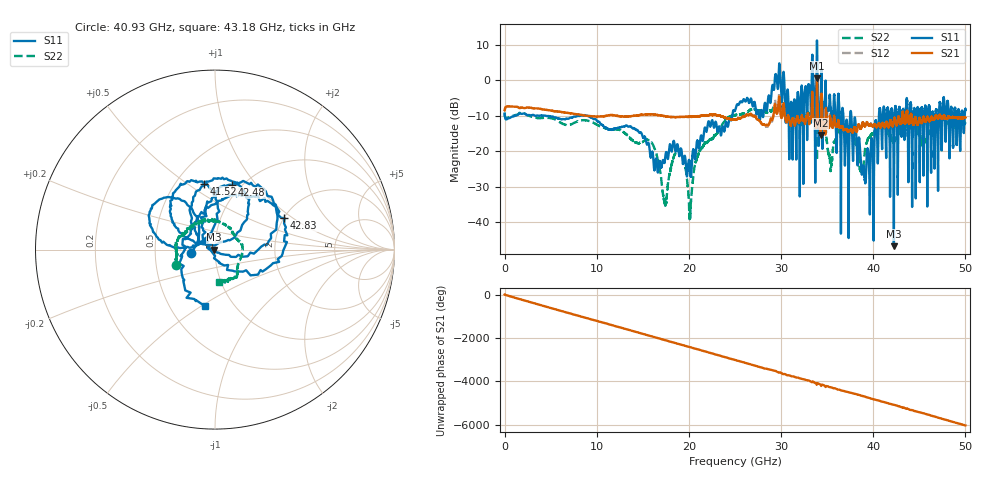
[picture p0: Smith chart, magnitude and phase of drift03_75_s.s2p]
!Created with skrf (http://scikit-rf.org).
# Hz S RI R 50.0
!freq ReS11 ImS11 ReS21 ImS21 ReS12 ImS12 ReS22 ImS22
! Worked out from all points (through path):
!   10001 points, 300 kHz to 50 GHz, reference 50 ohm
!   highest |S21| = 0.62 dB at 33.9 GHz (marker M1); lowest = -15.5 dB at 34.32 GHz (marker M2)
!   group delay of S21, straight-line fit = 335 ps
!   lowest |S11| = -46.8 dB at 42.24 GHz (marker M3), VSWR 1.01, Z = 49.6 - j0.0868 ohm
!   |S11| at or under -10 dB: 4.471 GHz to 8.188 GHz (3.717 GHz wide, 58.7 % of centre); 9.014 GHz to 24.7 GHz (15.68 GHz wide, 93 % of centre); 37.62 GHz to 40.62 GHz (2.997 GHz wide, 7.66 % of centre) (the widest 3 of 54)
!   |S22| runs from -39.2 to -5.9 dB; largest |S21 - S12| = 0.11
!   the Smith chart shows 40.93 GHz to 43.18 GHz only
!   S11 on the Smith chart (normalised r, x): 40.93 GHz: 0.76, -0.03; 41.52 GHz: 0.68, +0.58; 42.48 GHz: 0.90, +0.76; 42.83 GHz: 2.01, +0.86; 43.18 GHz: 0.74, -0.52
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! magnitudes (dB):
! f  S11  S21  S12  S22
! 300 kHz  -9.4  -8.4  -8.5  -9.3
! 8.335 GHz  -9.9  -9.8  -9.8  -11.3
! 16.67 GHz  -25.5  -9.8  -9.8  -23.1
! 17.41 GHz  -22.3  -10.1  -10.1  -35.0
! 19.09 GHz  -19.5  -10.3  -10.3  -20.2
! 20.13 GHz  -24.5  -10.3  -10.3  -37.0
! 21.19 GHz  -17.9  -10.1  -10.1  -19.7
! 25 GHz  -8.6  -11.1  -11.1  -9.8
! 33.34 GHz  0.7  -7.4  -7.5  -9.4
! 33.9 GHz  11.3  0.6  0.2  -22.7
! 34.32 GHz  -2.9  -15.5  -14.9  -11.2
! 35.33 GHz  -5.7  -10.3  -9.8  -24.4
! 36.96 GHz  -21.6  -13.8  -13.9  -13.4
! 38.98 GHz  -25.6  -12.5  -12.6  -23.0
! 40.93 GHz  -17.2  -12.4  -12.4  -12.7
! 41.52 GHz  -8.6  -12.1  -12.2  -14.6
! 41.67 GHz  -9.5  -13.3  -13.2  -14.8
! 42.24 GHz  -46.8  -11.3  -11.4  -17.4
! 42.48 GHz  -8.6  -12.4  -12.4  -16.3
! 42.83 GHz  -7.4  -11.2  -11.2  -14.4
! 43.18 GHz  -9.9  -9.4  -9.4  -14.9
! 50 GHz  -8.0  -10.5  -10.6  -12.1
